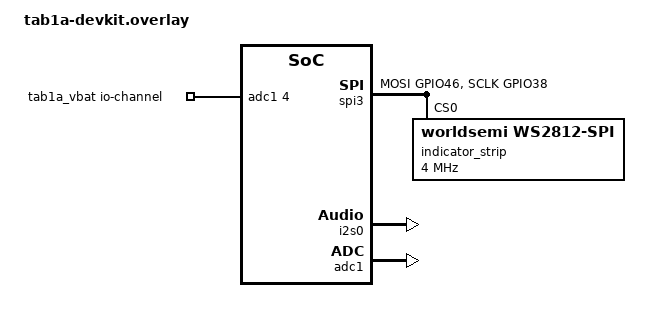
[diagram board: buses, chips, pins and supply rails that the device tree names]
/*
 * Copyright (c) 2026 The ZMK Contributors
 *
 * SPDX-License-Identifier: MIT
 *
 * Coban Tab 1a DEV HARNESS overlay: bench bring-up of the final board's
 * peripherals (4-key matrix, WS2812 bar, I2S tone, VBAT ADC). Not a product
 * build. Probes: app/src/tab1a/; pins + bench wiring: ../tab1a-hardware-map.md.
 *   sh zmk/esp-port/build_cobantab1a.sh -O zmk/esp-port/bringup/tab1a-devkit.overlay -C zmk/esp-port/bringup/tab1a-devkit.conf
 * Applied AFTER the cobantab1a shield's own overlay.
 */

#include <zephyr/dt-bindings/gpio/gpio.h>
#include <zephyr/dt-bindings/pinctrl/esp32s3-pinctrl.h>
#include <dt-bindings/led/led.h>

/* TRC, not RC: the shield keymap's right-ctrl RC macro is in this
 * preprocessing chain. Expansion matches zmk's matrix_transform.h RC(). */
#define TRC(row, col) (((row) << 8) + (col))

&kscan0 {
    /* Harness 2x2 matrix on P2: diodes row -> col, key to GND. Never IO5
     * (VBAT) or IO9 (BOOT); IO16 doubles as SPI3 SCLK for the light bar. */
    row-gpios
        = <&gpio0 7  GPIO_ACTIVE_HIGH>
        , <&gpio0 14 GPIO_ACTIVE_HIGH>
        ;

    col-gpios
        = <&gpio0 15 (GPIO_ACTIVE_HIGH | GPIO_PULL_DOWN)>
        , <&gpio0 16 (GPIO_ACTIVE_HIGH | GPIO_PULL_DOWN)>
        ;
};

/* No transform overrides: the shield dtsi already carries the 4x4 shape the
 * keymap's bindings require. */

/ {
    /* VBAT sense: ADC1 ch 4 = GPIO5; divider ratio recorded in the hardware map. */
    tab1a_vbat: tab1a-vbat {
        compatible = "zephyr,user";
        io-channels = <&adc1 4>;
    };

    /* DS1302: no node on purpose — the in-tree maxim,ds1302 driver needs
     * bit-bang SPI this tree lacks. Proposed IOs: SCLK=17, IO=18, CE=6. */
};

&pinctrl {
    i2s0_default: i2s0_default {
        group1 {
            pinmux = <I2S0_O_WS_GPIO2>,   /* LRCLK */
                     <I2S0_O_BCK_GPIO42>, /* BCLK  */
                     <I2S0_O_SD_GPIO41>;  /* DATA -> amp DIN */
        };
    };

    spim3_default: spim3_default {
        group1 {
            /* DEVKIT ONLY: clock borrows the unused panel TE pin IO38.
             * SPI (not bit-bang): this Zephyr's GPIO ws2812 driver is nRF-only. */
            pinmux = <SPIM3_MOSI_GPIO46>,
                     <SPIM3_SCLK_GPIO38>;
        };
    };
};

&spi3 {
    status = "okay";
    #address-cells = <1>;
    #size-cells = <0>;
    pinctrl-0 = <&spim3_default>;
    pinctrl-names = "default";

    /* IO46 = &gpio1 14 (gpio1 covers IO32-48); a strapping pin (ROM message
     * output) — idling low at reset only changes ROM log behaviour. */
    indicator_strip: ws2812@0 {
        compatible = "worldsemi,ws2812-spi";
        reg = <0>;
        spi-max-frequency = <4000000>;
        chain-length = <8>;
        spi-one-frame = <0x70>;
        spi-zero-frame = <0x40>;
        color-mapping = <LED_COLOR_ID_GREEN
                         LED_COLOR_ID_RED
                         LED_COLOR_ID_BLUE>;
    };
};

&i2s0 {
    /* GDMA 2/3 by default — free (spi2 holds 0/1). */
    status = "okay";
    pinctrl-0 = <&i2s0_default>;
    pinctrl-names = "default";
};

&adc1 {
    status = "okay";
};
